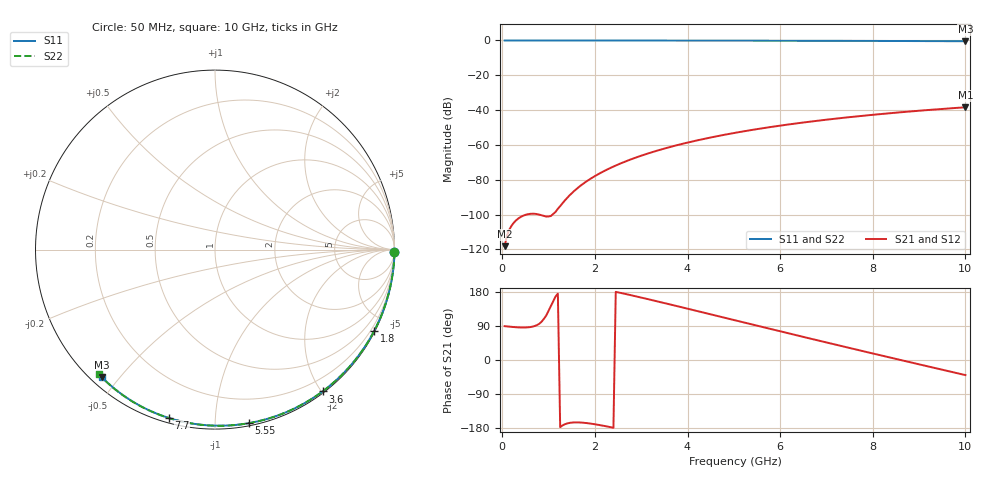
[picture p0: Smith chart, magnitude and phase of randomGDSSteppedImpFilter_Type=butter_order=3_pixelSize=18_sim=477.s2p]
! freq	dB(S11)	phase(S11)	dB(S12)	phase(S12)
!  dB(S21)	phase(S21)	dB(S22)	phase(S22)
!S-par simulation data
#  GHz  S  DB  R 50
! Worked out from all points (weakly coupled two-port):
!   200 points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, 50 MHz to 10 GHz, reference 50 ohm
!   highest |S21| = -38.40 dB at 10 GHz (marker M1); lowest = -118.2 dB at 50 MHz (marker M2)
!   lowest |S11| = -0.4 dB at 10 GHz (marker M3), VSWR 38.98, Z = 1.54 - j22.4 ohm
!   |S11| at or under -10 dB: nowhere
!   |S22| runs from -0.4 to 0.0 dB; largest |S21 - S12| = 0
!   S11 on the Smith chart (normalised r, x): 50 MHz: open; 1.8 GHz: 0.04, -4.16; 3.6 GHz: 0.02, -2.01; 5.55 GHz: 0.02, -1.22; 7.7 GHz: 0.02, -0.76; 10 GHz: 0.03, -0.45
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0.05  -0.00 -0.8  -118.19 89.3  -118.19 89.3  -0.00 -0.8
0.9  -0.02 -13.6  -100.88 108.9  -100.88 108.9  -0.02 -13.8
1.75  -0.03 -26.3  -82.25 -165.5  -82.25 -165.5  -0.03 -26.6
1.8  -0.03 -27.0  -81.30 -166.2  -81.30 -166.2  -0.03 -27.3
1.85  -0.04 -27.8  -80.41 -166.9  -80.41 -166.9  -0.04 -28.0
1.9  -0.04 -28.5  -79.54 -167.7  -79.54 -167.7  -0.04 -28.8
2.05  -0.04 -30.7  -77.15 -170.6  -77.15 -170.6  -0.04 -31.0
2.25  -0.04 -33.6  -74.33 -175.1  -74.33 -175.1  -0.04 -34.0
2.45  -0.05 -36.5  -71.85 179.9  -71.85 179.9  -0.05 -36.9
2.65  -0.05 -39.4  -69.62 174.5  -69.62 174.5  -0.05 -39.8
3  -0.06 -44.4  -66.21 164.8  -66.21 164.8  -0.06 -44.8
3.4  -0.07 -50.0  -62.87 153.2  -62.87 153.2  -0.07 -50.5
3.6  -0.07 -52.8  -61.38 147.3  -61.38 147.3  -0.07 -53.4
4.3  -0.09 -62.4  -56.87 126.5  -56.87 126.5  -0.09 -63.0
5.05  -0.11 -72.4  -52.95 104.1  -52.95 104.1  -0.11 -73.1
5.55  -0.13 -78.9  -50.73 89.1  -50.73 89.1  -0.13 -79.6
6.1  -0.15 -85.8  -48.56 72.8  -48.56 72.8  -0.15 -86.7
6.7  -0.18 -93.3  -46.47 55.1  -46.47 55.1  -0.18 -94.2
7.7  -0.24 -105.3  -43.50 25.9  -43.50 25.9  -0.24 -106.3
8.35  -0.29 -112.9  -41.84 7.1  -41.84 7.1  -0.29 -113.9
9.15  -0.36 -122.0  -40.05 -15.7  -40.05 -15.7  -0.36 -123.2
10  -0.45 -131.7  -38.40 -39.8  -38.40 -39.8  -0.45 -132.9
